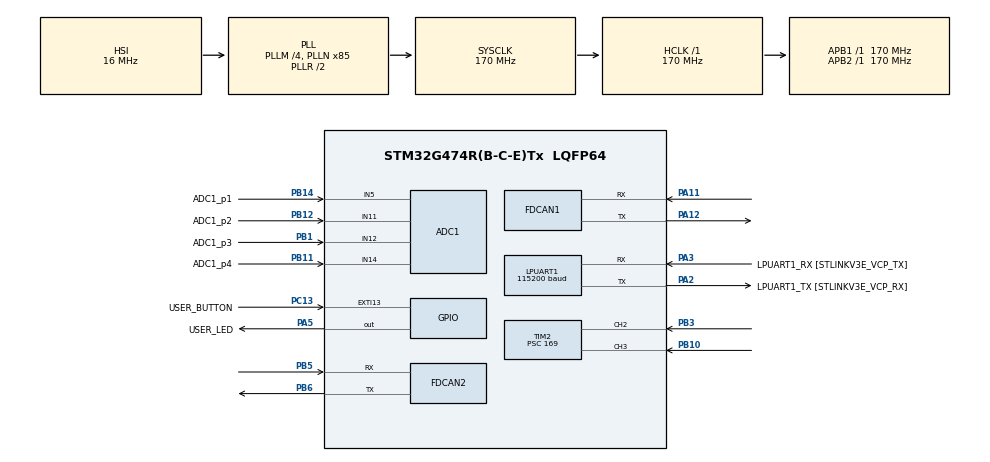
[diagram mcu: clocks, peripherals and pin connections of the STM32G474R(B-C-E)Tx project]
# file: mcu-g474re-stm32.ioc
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ADC1.Channel-0\#ChannelRegularConversion=ADC_CHANNEL_5
ADC1.Channel-1\#ChannelRegularConversion=ADC_CHANNEL_11
ADC1.Channel-2\#ChannelRegularConversion=ADC_CHANNEL_12
ADC1.Channel-3\#ChannelRegularConversion=ADC_CHANNEL_14
ADC1.ClockPrescaler=ADC_CLOCK_SYNC_PCLK_DIV4
ADC1.ContinuousConvMode=ENABLE
ADC1.DMAContinuousRequests=ENABLE
ADC1.EOCSelection=ADC_EOC_SEQ_CONV
ADC1.NbrOfConversion=4
ADC1.NbrOfConversionFlag=1
ADC1.OffsetNumber-0\#ChannelRegularConversion=ADC_OFFSET_NONE
ADC1.OffsetNumber-1\#ChannelRegularConversion=ADC_OFFSET_NONE
ADC1.OffsetNumber-2\#ChannelRegularConversion=ADC_OFFSET_NONE
ADC1.OffsetNumber-3\#ChannelRegularConversion=ADC_OFFSET_NONE
ADC1.Rank-0\#ChannelRegularConversion=1
ADC1.Rank-1\#ChannelRegularConversion=2
ADC1.Rank-2\#ChannelRegularConversion=3
ADC1.Rank-3\#ChannelRegularConversion=4
ADC1.SamplingTime-0\#ChannelRegularConversion=ADC_SAMPLETIME_640CYCLES_5
ADC1.SamplingTime-1\#ChannelRegularConversion=ADC_SAMPLETIME_640CYCLES_5
ADC1.SamplingTime-2\#ChannelRegularConversion=ADC_SAMPLETIME_640CYCLES_5
ADC1.SamplingTime-3\#ChannelRegularConversion=ADC_SAMPLETIME_640CYCLES_5
ADC1.master=1
Dma.ADC1.1.Direction=DMA_PERIPH_TO_MEMORY
Dma.ADC1.1.EventEnable=DISABLE
Dma.ADC1.1.Instance=DMA1_Channel2
Dma.ADC1.1.MemDataAlignment=DMA_MDATAALIGN_HALFWORD
Dma.ADC1.1.MemInc=DMA_MINC_ENABLE
Dma.ADC1.1.Mode=DMA_CIRCULAR
Dma.ADC1.1.PeriphDataAlignment=DMA_PDATAALIGN_HALFWORD
Dma.ADC1.1.PeriphInc=DMA_PINC_DISABLE
Dma.ADC1.1.Polarity=HAL_DMAMUX_REQ_GEN_RISING
Dma.ADC1.1.Priority=DMA_PRIORITY_MEDIUM
Dma.ADC1.1.RequestNumber=1
Dma.ADC1.1.SignalID=NONE
Dma.ADC1.1.SyncEnable=DISABLE
Dma.ADC1.1.SyncPolarity=HAL_DMAMUX_SYNC_NO_EVENT
Dma.ADC1.1.SyncRequestNumber=1
Dma.ADC1.1.SyncSignalID=NONE
Dma.LPUART1_TX.0.Direction=DMA_MEMORY_TO_PERIPH
Dma.LPUART1_TX.0.EventEnable=DISABLE
Dma.LPUART1_TX.0.Instance=DMA1_Channel1
Dma.LPUART1_TX.0.MemDataAlignment=DMA_MDATAALIGN_BYTE
Dma.LPUART1_TX.0.MemInc=DMA_MINC_ENABLE
Dma.LPUART1_TX.0.Mode=DMA_NORMAL
Dma.LPUART1_TX.0.PeriphDataAlignment=DMA_PDATAALIGN_BYTE
Dma.LPUART1_TX.0.PeriphInc=DMA_PINC_DISABLE
Dma.LPUART1_TX.0.Polarity=HAL_DMAMUX_REQ_GEN_RISING
Dma.LPUART1_TX.0.Priority=DMA_PRIORITY_LOW
Dma.LPUART1_TX.0.RequestNumber=1
Dma.LPUART1_TX.0.SignalID=NONE
Dma.LPUART1_TX.0.SyncEnable=DISABLE
Dma.LPUART1_TX.0.SyncPolarity=HAL_DMAMUX_SYNC_NO_EVENT
Dma.LPUART1_TX.0.SyncRequestNumber=1
Dma.LPUART1_TX.0.SyncSignalID=NONE
Dma.Request0=LPUART1_TX
Dma.Request1=ADC1
Dma.Request2=TIM2_CH2
Dma.Request3=TIM2_CH3
Dma.TIM2_CH2.2.Direction=DMA_PERIPH_TO_MEMORY
Dma.TIM2_CH2.2.EventEnable=DISABLE
Dma.TIM2_CH2.2.Instance=DMA1_Channel3
Dma.TIM2_CH2.2.MemDataAlignment=DMA_MDATAALIGN_WORD
Dma.TIM2_CH2.2.MemInc=DMA_MINC_ENABLE
Dma.TIM2_CH2.2.Mode=DMA_CIRCULAR
Dma.TIM2_CH2.2.PeriphDataAlignment=DMA_PDATAALIGN_WORD
Dma.TIM2_CH2.2.PeriphInc=DMA_PINC_DISABLE
Dma.TIM2_CH2.2.Polarity=HAL_DMAMUX_REQ_GEN_RISING
Dma.TIM2_CH2.2.Priority=DMA_PRIORITY_MEDIUM
Dma.TIM2_CH2.2.RequestNumber=1
Dma.TIM2_CH2.2.SignalID=NONE
Dma.TIM2_CH2.2.SyncEnable=DISABLE
Dma.TIM2_CH2.2.SyncPolarity=HAL_DMAMUX_SYNC_NO_EVENT
Dma.TIM2_CH2.2.SyncRequestNumber=1
Dma.TIM2_CH2.2.SyncSignalID=NONE
Dma.TIM2_CH3.3.Direction=DMA_PERIPH_TO_MEMORY
Dma.TIM2_CH3.3.EventEnable=DISABLE
Dma.TIM2_CH3.3.Instance=DMA1_Channel4
Dma.TIM2_CH3.3.MemDataAlignment=DMA_MDATAALIGN_WORD
Dma.TIM2_CH3.3.MemInc=DMA_MINC_ENABLE
Dma.TIM2_CH3.3.Mode=DMA_CIRCULAR
Dma.TIM2_CH3.3.PeriphDataAlignment=DMA_PDATAALIGN_WORD
Dma.TIM2_CH3.3.PeriphInc=DMA_PINC_DISABLE
Dma.TIM2_CH3.3.Polarity=HAL_DMAMUX_REQ_GEN_RISING
Dma.TIM2_CH3.3.Priority=DMA_PRIORITY_MEDIUM
Dma.TIM2_CH3.3.RequestNumber=1
Dma.TIM2_CH3.3.SignalID=NONE
Dma.TIM2_CH3.3.SyncEnable=DISABLE
Dma.TIM2_CH3.3.SyncPolarity=HAL_DMAMUX_SYNC_NO_EVENT
Dma.TIM2_CH3.3.SyncRequestNumber=1
Dma.TIM2_CH3.3.SyncSignalID=NONE
FDCAN1.CalculateBaudRateNominal=500000
FDCAN1.CalculateTimeBitNominal=2000
FDCAN1.CalculateTimeQuantumNominal=100.0
FDCAN1.Mode=FDCAN_MODE_NORMAL
FDCAN1.NominalPrescaler=17
FDCAN1.NominalTimeSeg1=15
FDCAN1.NominalTimeSeg2=4
FDCAN2.CalculateBaudRateNominal=500000
FDCAN2.CalculateTimeBitNominal=2000
FDCAN2.CalculateTimeQuantumNominal=100.0
FDCAN2.NominalPrescaler=17
FDCAN2.NominalTimeSeg1=15
FDCAN2.NominalTimeSeg2=4
IWDG.Prescaler=IWDG_PRESCALER_8
LPUART1.BaudRate=115200
Mcu.Family=STM32G4
Mcu.Name=STM32G474R(B-C-E)Tx
Mcu.Package=LQFP64
NVIC.ADC1_2_IRQn=true\:0\:0\:false\:false\:true\:true\:true\:true
NVIC.DMA1_Channel1_IRQn=true\:0\:0\:false\:false\:true\:false\:true\:true
NVIC.DMA1_Channel2_IRQn=true\:0\:0\:false\:false\:true\:false\:true\:true
NVIC.DMA1_Channel3_IRQn=true\:0\:0\:false\:false\:true\:false\:true\:true
NVIC.DMA1_Channel4_IRQn=true\:0\:0\:false\:false\:true\:false\:true\:true
NVIC.EXTI15_10_IRQn=true\:0\:0\:false\:false\:true\:true\:true\:true
NVIC.FDCAN1_IT0_IRQn=true\:0\:0\:false\:false\:true\:true\:true\:true
NVIC.FDCAN2_IT0_IRQn=true\:0\:0\:false\:false\:true\:true\:true\:true
NVIC.LPUART1_IRQn=true\:0\:0\:false\:false\:true\:true\:true\:true
NVIC.PriorityGroup=NVIC_PRIORITYGROUP_4
PA11.Mode=FDCAN_Activate
PA11.Signal=FDCAN1_RX
PA12.Mode=FDCAN_Activate
PA12.Signal=FDCAN1_TX
PA13.GPIO_Label=T_SWDIO
PA13.Mode=Serial_Wire
PA13.Signal=SYS_JTMS-SWDIO
PA14.Mode=Serial_Wire
PA14.Signal=SYS_JTCK-SWCLK
PA2.GPIO_Label=LPUART1_TX [STLINKV3E_VCP_RX]
PA2.Mode=Asynchronous
PA2.Signal=LPUART1_TX
PA3.GPIO_Label=LPUART1_RX [STLINKV3E_VCP_TX]
PA3.Mode=Asynchronous
PA3.Signal=LPUART1_RX
PA5.GPIO_Label=USER_LED
PA5.Signal=GPIO_Output
PB1.GPIO_Label=ADC1_p3
PB1.Mode=IN12-Single-Ended
PB1.Signal=ADC1_IN12
PB10.Signal=S_TIM2_CH3
PB11.GPIO_Label=ADC1_p4
PB11.Mode=IN14-Single-Ended
PB11.Signal=ADC1_IN14
PB12.GPIO_Label=ADC1_p2
PB12.Mode=IN11-Single-Ended
PB12.Signal=ADC1_IN11
PB14.GPIO_Label=ADC1_p1
PB14.Mode=IN5-Single-Ended
PB14.Signal=ADC1_IN5
PB3.Signal=S_TIM2_CH2
PB5.Mode=FDCAN_Activate
PB5.Signal=FDCAN2_RX
PB6.Mode=FDCAN_Activate
PB6.Signal=FDCAN2_TX
PC13.GPIO_Label=USER_BUTTON
PC13.Signal=GPXTI13
ProjectManager.HeapSize=0x200
ProjectManager.StackSize=0x400
ProjectManager.TargetToolchain=STM32CubeIDE
RCC.ADC12Freq_Value=170000000
RCC.ADC345Freq_Value=170000000
RCC.AHBFreq_Value=170000000
RCC.APB1Freq_Value=170000000
RCC.APB1TimFreq_Value=170000000
RCC.APB2Freq_Value=170000000
RCC.APB2TimFreq_Value=170000000
RCC.CortexFreq_Value=170000000
RCC.EXTERNAL_CLOCK_VALUE=12288000
RCC.HCLKFreq_Value=170000000
RCC.HSE_VALUE=24000000
RCC.HSI48_VALUE=48000000
RCC.HSI_VALUE=16000000
RCC.LSE_VALUE=32768
RCC.PLLM=RCC_PLLM_DIV4
RCC.PLLN=85
RCC.RTCClockSelection=RCC_RTCCLKSOURCE_LSE
RCC.SYSCLKFreq_VALUE=170000000
RCC.SYSCLKSource=RCC_SYSCLKSOURCE_PLLCLK
RCC.USBFreq_Value=170000000
RCC.VCOOutputFreq_Value=340000000
SH.S_TIM2_CH2.0=TIM2_CH2,Input_Capture2_from_TI2
SH.S_TIM2_CH3.0=TIM2_CH3,Input_Capture3_from_TI3
TIM2.AutoReloadPreload=TIM_AUTORELOAD_PRELOAD_ENABLE
TIM2.Channel-Input_Capture2_from_TI2=TIM_CHANNEL_2
TIM2.Channel-Input_Capture3_from_TI3=TIM_CHANNEL_3
TIM2.ICFilter_CH2=8
TIM2.ICFilter_CH3=8
TIM2.Prescaler=169
VP_IWDG_VS_IWDG.Mode=IWDG_Activate
VP_SYS_VS_DBSignals.Mode=DisableDeadBatterySignals
VP_TIM2_VS_ClockSourceINT.Mode=Internal
board=NUCLEO-G474RE

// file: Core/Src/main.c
/* USER CODE BEGIN Header */
/**
  ******************************************************************************
  * @file           : main.c
  * @brief          : Main program body
  ******************************************************************************
  * @attention
  *
  * Copyright (c) 2026 STMicroelectronics.
  * All rights reserved.
  *
  * This software is licensed under terms that can be found in the LICENSE file
  * in the root directory of this software component.
  * If no LICENSE file comes with this software, it is provided AS-IS.
  *
  ******************************************************************************
  */
/* USER CODE END Header */
#include "main.h"

/* USER CODE BEGIN Includes */
#include <stdio.h>
#include <stdarg.h>
#include <string.h>
/* USER CODE END Includes */

ADC_HandleTypeDef hadc1;
DMA_HandleTypeDef hdma_adc1;

FDCAN_HandleTypeDef hfdcan1;
FDCAN_HandleTypeDef hfdcan2;

IWDG_HandleTypeDef hiwdg;

UART_HandleTypeDef hlpuart1;
DMA_HandleTypeDef hdma_lpuart1_tx;

TIM_HandleTypeDef htim2;
DMA_HandleTypeDef hdma_tim2_ch2;
DMA_HandleTypeDef hdma_tim2_ch3;

/* USER CODE BEGIN PV */

/* -----------------------------------------------------------------------
 *  ADC – 4 canali DMA continuo (circolare)
 *  Buffer: [0]=PB14/CH5  [1]=PB12/CH11  [2]=PB1/CH12  [3]=PB11/CH14
 * --------------------------------------------------------------------- */
#define ADC_NUM_CH   4u
volatile uint16_t g_adc[ADC_NUM_CH];          /* raw 12-bit ADC values  */

/* -----------------------------------------------------------------------
 *  LPUART1 – debug su ST-Link VCP via DMA
 *  Pattern identico a Serial.c (buffer DMA + flag busy + TxCplt callback)
 * --------------------------------------------------------------------- */
#define LPUART_BUF_SIZE   128u
static char      g_lpuart_buf[LPUART_BUF_SIZE];
volatile uint8_t g_lpuart_busy = 0;

/* -----------------------------------------------------------------------
 *  FDCAN  (CAN1 = PA11/PA12 @ 500 kbps,  CAN2 = PB5/PB6 @ 500 kbps)
 *
 *  NOTA: la G474RE NON bypassa automaticamente un bus CAN assente.
 *  HAL_FDCAN_Init / Start riescono sempre; la trasmissione fallirà
 *  silenziosamente se non c'è nessun altro nodo ad ACK-are.
 *  Con AutoRetransmission=DISABLE (già impostato dal CubeMX) il TX
 *  viene tentato una sola volta e non si innesca il bus-off loop.
 *  Il bus-off viene comunque rilevato e recuperato nel main loop.
 *  Per test senza hardware CAN → cambiare Mode in
 *  FDCAN_MODE_INTERNAL_LOOPBACK nel .ioc e rigenerare.
 * --------------------------------------------------------------------- */
volatile uint8_t       g_btn_tx_req  = 0;     /* richiesta TX da pulsante */
FDCAN_RxHeaderTypeDef  g_can_rx_hdr;
uint8_t                g_can_rx_data[8];
volatile uint32_t      g_can1_rx_cnt = 0;
volatile uint32_t      g_can2_rx_cnt = 0;

/* -----------------------------------------------------------------------
 *  Speed sensors – TIM2 Input Capture DMA circolare
 *  PB3  → TIM2_CH2 → ruota 1
 *  PB10 → TIM2_CH3 → ruota 2
 *
 *  Clock TIM2: 170 MHz / (Prescaler+1) = 170 MHz / 170 = 1 MHz
 *  → 1 tick = 1 µs  → diff [µs] tra due denti consecutivi
 *
 *  rpm  = 60 × 10⁶ / (diff_µs × NUM_DENTI)
 *  km/h = rpm_medio × CIRC_RUOTA_M × 60 / 1000
 * --------------------------------------------------------------------- */
#define NUM_DENTI      22.0f
#define CIRC_RUOTA_M    1.8f              /* circonferenza ruota [m]       */
#define IC_BUF_SIZE    16u

uint32_t          g_ic_buf_ch2[IC_BUF_SIZE];  /* DMA scrive TIM2 CH2 qui */
uint32_t          g_ic_buf_ch3[IC_BUF_SIZE];  /* DMA scrive TIM2 CH3 qui */
uint16_t          g_last_idx_ch2 = 0;
uint16_t          g_last_idx_ch3 = 0;
uint16_t          g_timeout_ch2  = 0;         /* cnt loop senza nuovi dati */
uint16_t          g_timeout_ch3  = 0;

volatile float    g_rpm1      = 0.0f;
volatile float    g_rpm2      = 0.0f;
volatile float    g_speed_kmh = 0.0f;

/* logging tick: globale per visibilità in debug */
uint32_t          g_log_tick  = 0;

/* USER CODE END PV */

void SystemClock_Config(void);
static void MX_GPIO_Init(void);
static void MX_DMA_Init(void);
static void MX_ADC1_Init(void);
static void MX_IWDG_Init(void);
static void MX_LPUART1_UART_Init(void);
static void MX_FDCAN1_Init(void);
static void MX_FDCAN2_Init(void);
static void MX_TIM2_Init(void);

/* USER CODE BEGIN 0 */

/* -----------------------------------------------------------------------
 *  Serial_Log – invia stringa formattata su LPUART1 via DMA
 *  Stesso pattern di Serial.c: buffer statico + flag busy + callback
 *  Il chiamante attende al più 20 ms che il TX precedente finisca;
 *  se scade il timeout il messaggio viene scartato (no blocco).
 * --------------------------------------------------------------------- */
void Serial_Log(const char *fmt, ...)
{
    uint32_t t0 = HAL_GetTick();
    while (g_lpuart_busy && (HAL_GetTick() - t0 < 20u)) {}
    if (g_lpuart_busy) return;

    va_list ap;
    va_start(ap, fmt);
    int len = vsnprintf(g_lpuart_buf, sizeof(g_lpuart_buf), fmt, ap);
    va_end(ap);

    if (len <= 0 || len >= (int)sizeof(g_lpuart_buf)) return;

    g_lpuart_busy = 1u;
    if (HAL_UART_Transmit_DMA(&hlpuart1, (uint8_t *)g_lpuart_buf, (uint16_t)len) != HAL_OK)
        g_lpuart_busy = 0u;
}

/* -----------------------------------------------------------------------
 *  HAL Callbacks
 * --------------------------------------------------------------------- */

/* TX LPUART completato → libera il flag (chiamato da DMA1_Ch1 IRQ) */
void HAL_UART_TxCpltCallback(UART_HandleTypeDef *huart)
{
    if (huart->Instance == LPUART1)
        g_lpuart_busy = 0u;
}

/* Pulsante B1 (PC13, rising edge EXTI) → schedula TX su CAN1 */
void HAL_GPIO_EXTI_Callback(uint16_t GPIO_Pin)
{
    if (GPIO_Pin == USER_BUTTON_Pin)
        g_btn_tx_req = 1u;
}

/*
 * FDCAN RX FIFO0 callback – svuota il FIFO in loop (gestisce burst)
 *  • CAN1: toggle LED verde (PA5) ad ogni frame ricevuto
 *  • CAN2: incrementa solo il contatore
 */
void HAL_FDCAN_RxFifo0Callback(FDCAN_HandleTypeDef *hfdcan, uint32_t RxFifo0ITs)
{
    if (!(RxFifo0ITs & FDCAN_IT_RX_FIFO0_NEW_MESSAGE)) return;

    while (HAL_FDCAN_GetRxFifoFillLevel(hfdcan, FDCAN_RX_FIFO0) > 0u)
    {
        HAL_FDCAN_GetRxMessage(hfdcan, FDCAN_RX_FIFO0, &g_can_rx_hdr, g_can_rx_data);

        if (hfdcan->Instance == FDCAN1)
        {
            g_can1_rx_cnt++;
            HAL_GPIO_TogglePin(USER_LED_GPIO_Port, USER_LED_Pin);
        }
        else if (hfdcan->Instance == FDCAN2)
        {
            g_can2_rx_cnt++;
        }
    }
}

/* USER CODE END 0 */

int main(void)
{

  /* MCU Configuration--------------------------------------------------------*/

  /* Reset of all peripherals, Initializes the Flash interface and the Systick. */
  HAL_Init();

  /* Configure the system clock */
  SystemClock_Config();

  /* Initialize all configured peripherals */
  MX_GPIO_Init();
  MX_DMA_Init();
  MX_ADC1_Init();
  MX_IWDG_Init();
  MX_LPUART1_UART_Init();
  MX_FDCAN1_Init();
  MX_FDCAN2_Init();
  MX_TIM2_Init();
  /* USER CODE BEGIN 2 */

  /* -----------------------------------------------------------------------
   *  ADC – calibrazione offset + avvio DMA continuo circolare
   * --------------------------------------------------------------------- */
  HAL_ADCEx_Calibration_Start(&hadc1, ADC_SINGLE_ENDED);
  HAL_ADC_Start_DMA(&hadc1, (uint32_t *)g_adc, ADC_NUM_CH);

  /* -----------------------------------------------------------------------
   *  FDCAN1 – filtro "accetta tutto" standard, start, notifica RX
   * --------------------------------------------------------------------- */
  {
    FDCAN_FilterTypeDef f = {0};
    f.IdType       = FDCAN_STANDARD_ID;
    f.FilterIndex  = 0;
    f.FilterType   = FDCAN_FILTER_MASK;
    f.FilterConfig = FDCAN_FILTER_TO_RXFIFO0;
    f.FilterID1    = 0x000u;
    f.FilterID2    = 0x000u;   /* maschera 0 → accetta qualunque ID standard */

    HAL_FDCAN_ConfigFilter(&hfdcan1, &f);
    HAL_FDCAN_ConfigGlobalFilter(&hfdcan1,
        FDCAN_ACCEPT_IN_RX_FIFO0, FDCAN_ACCEPT_IN_RX_FIFO0,
        FDCAN_REJECT, FDCAN_REJECT);
    if (HAL_FDCAN_Start(&hfdcan1) != HAL_OK) { Error_Handler(); }
    HAL_FDCAN_ActivateNotification(&hfdcan1, FDCAN_IT_RX_FIFO0_NEW_MESSAGE, 0);
  }

  /* -----------------------------------------------------------------------
   *  FDCAN2 – stesso schema
   * --------------------------------------------------------------------- */
  {
    FDCAN_FilterTypeDef f = {0};
    f.IdType       = FDCAN_STANDARD_ID;
    f.FilterIndex  = 0;
    f.FilterType   = FDCAN_FILTER_MASK;
    f.FilterConfig = FDCAN_FILTER_TO_RXFIFO0;
    f.FilterID1    = 0x000u;
    f.FilterID2    = 0x000u;

    HAL_FDCAN_ConfigFilter(&hfdcan2, &f);
    HAL_FDCAN_ConfigGlobalFilter(&hfdcan2,
        FDCAN_ACCEPT_IN_RX_FIFO0, FDCAN_ACCEPT_IN_RX_FIFO0,
        FDCAN_REJECT, FDCAN_REJECT);
    if (HAL_FDCAN_Start(&hfdcan2) != HAL_OK) { Error_Handler(); }
    HAL_FDCAN_ActivateNotification(&hfdcan2, FDCAN_IT_RX_FIFO0_NEW_MESSAGE, 0);
  }

  /* -----------------------------------------------------------------------
   *  TIM2 IC DMA – avvio circolare su CH2 (PB3) e CH3 (PB10)
   *  DMA già configurato in DMA_CIRCULAR nel MSP generato da CubeMX.
   * --------------------------------------------------------------------- */
  HAL_TIM_IC_Start_DMA(&htim2, TIM_CHANNEL_2, g_ic_buf_ch2, IC_BUF_SIZE);
  HAL_TIM_IC_Start_DMA(&htim2, TIM_CHANNEL_3, g_ic_buf_ch3, IC_BUF_SIZE);

  Serial_Log("=== Nucleo G474RE test start ===\r\n");

  /* USER CODE END 2 */

  /* Infinite loop */
  while (1)
  {

    /* USER CODE BEGIN 3 */

    uint32_t now = HAL_GetTick();

    /* ---------------------------------------------------------------
     *  Pulsante B1 → TX su CAN1 (ID 0x123, 8 byte)
     * ------------------------------------------------------------- */
    if (g_btn_tx_req)
    {
      g_btn_tx_req = 0u;

      FDCAN_TxHeaderTypeDef txh = {0};
      txh.Identifier          = 0x123u;
      txh.IdType              = FDCAN_STANDARD_ID;
      txh.TxFrameType         = FDCAN_DATA_FRAME;
      txh.DataLength          = FDCAN_DLC_BYTES_8;
      txh.ErrorStateIndicator = FDCAN_ESI_ACTIVE;
      txh.BitRateSwitch       = FDCAN_BRS_OFF;
      txh.FDFormat            = FDCAN_CLASSIC_CAN;
      txh.TxEventFifoControl  = FDCAN_NO_TX_EVENTS;
      txh.MessageMarker       = 0;

      uint8_t txd[8] = {0xDE, 0xAD, 0xBE, 0xEF, 0x01, 0x02, 0x03, 0x04};
      if (HAL_FDCAN_AddMessageToTxFifoQ(&hfdcan1, &txh, txd) == HAL_OK)
        Serial_Log("CAN1 TX ok\r\n");
      else
        Serial_Log("CAN1 TX ERR (bus assente?)\r\n");
    }

    /* ---------------------------------------------------------------
     *  Bus-off recovery – se il CAN è isolato, PSR.BO viene settato
     *  dopo che il TEC supera 256 (es. dopo 32 TX senza ACK).
     *  Stop + Start resetta i contatori di errore.
     * ------------------------------------------------------------- */
    if (hfdcan1.Instance->PSR & FDCAN_PSR_BO)
    {
      HAL_FDCAN_Stop(&hfdcan1);
      HAL_FDCAN_Start(&hfdcan1);
      Serial_Log("FDCAN1 bus-off: recovery\r\n");
    }
    if (hfdcan2.Instance->PSR & FDCAN_PSR_BO)
    {
      HAL_FDCAN_Stop(&hfdcan2);
      HAL_FDCAN_Start(&hfdcan2);
      Serial_Log("FDCAN2 bus-off: recovery\r\n");
    }

    /* ---------------------------------------------------------------
     *  RUOTA 1 – TIM2 CH2 (PB3)
     *
     *  NDTR del DMA conta quante scritture mancano a riempire il buffer.
     *  curr_idx = posizione corrente di scrittura nel buffer circolare.
     *  Il % IC_BUF_SIZE gestisce il caso NDTR==0 (wrap-around DMA).
     * ------------------------------------------------------------- */
    {
      uint16_t ndtr     = (uint16_t)__HAL_DMA_GET_COUNTER(htim2.hdma[TIM_DMA_ID_CC2]);
      uint16_t curr_idx = (uint16_t)((IC_BUF_SIZE - ndtr) % IC_BUF_SIZE);

      if (curr_idx != g_last_idx_ch2)
      {
        /* ultimi due timestamp catturati in ordine circolare */
        uint16_t i_new  = (uint16_t)((curr_idx - 1u + IC_BUF_SIZE) % IC_BUF_SIZE);
        uint16_t i_prev = (uint16_t)((curr_idx - 2u + IC_BUF_SIZE) % IC_BUF_SIZE);

        /* sottrazione uint32 gestisce overflow del counter a 32 bit */
        uint32_t diff = g_ic_buf_ch2[i_new] - g_ic_buf_ch2[i_prev];
        if (diff > 0u)
          g_rpm1 = 60000000.0f / ((float)diff * NUM_DENTI);

        g_last_idx_ch2 = curr_idx;
        g_timeout_ch2  = 0u;
      }
      else
      {
        if (g_timeout_ch2 < 0xFFFFu) g_timeout_ch2++;
        if (g_timeout_ch2 > 10u) g_rpm1 = 0.0f;   /* ~100 ms → ruota ferma */
      }
    }

    /* ---------------------------------------------------------------
     *  RUOTA 2 – TIM2 CH3 (PB10)
     * ------------------------------------------------------------- */
    {
      uint16_t ndtr     = (uint16_t)__HAL_DMA_GET_COUNTER(htim2.hdma[TIM_DMA_ID_CC3]);
      uint16_t curr_idx = (uint16_t)((IC_BUF_SIZE - ndtr) % IC_BUF_SIZE);

      if (curr_idx != g_last_idx_ch3)
      {
        uint16_t i_new  = (uint16_t)((curr_idx - 1u + IC_BUF_SIZE) % IC_BUF_SIZE);
        uint16_t i_prev = (uint16_t)((curr_idx - 2u + IC_BUF_SIZE) % IC_BUF_SIZE);

        uint32_t diff = g_ic_buf_ch3[i_new] - g_ic_buf_ch3[i_prev];
        if (diff > 0u)
          g_rpm2 = 60000000.0f / ((float)diff * NUM_DENTI);

        g_last_idx_ch3 = curr_idx;
        g_timeout_ch3  = 0u;
      }
      else
      {
        if (g_timeout_ch3 < 0xFFFFu) g_timeout_ch3++;
        if (g_timeout_ch3 > 10u) g_rpm2 = 0.0f;
      }
    }

    /* ---------------------------------------------------------------
     *  Velocità veicolo
     *  km/h = rpm_medio × circ[m] × 60 / 1000
     * ------------------------------------------------------------- */
    g_speed_kmh = ((g_rpm1 + g_rpm2) * 0.5f * CIRC_RUOTA_M * 60.0f) / 1000.0f;

    /* ---------------------------------------------------------------
     *  Log UART ogni 200 ms
     *  ADC raw 12-bit, RPM ruote, velocità, contatori CAN RX
     * ------------------------------------------------------------- */
    if (now - g_log_tick >= 200u)
    {
      g_log_tick = now;
      Serial_Log("ADC[%4d,%4d,%4d,%4d] RPM1=%6.1f RPM2=%6.1f V=%5.1f km/h RX1=%u RX2=%u\r\n",
                 (int)g_adc[0], (int)g_adc[1], (int)g_adc[2], (int)g_adc[3],
                 (double)g_rpm1, (double)g_rpm2, (double)g_speed_kmh,
                 (unsigned int)g_can1_rx_cnt, (unsigned int)g_can2_rx_cnt);
    }

    /* kick watchdog (timeout IWDG ≈ 1 s) */
    HAL_IWDG_Refresh(&hiwdg);

    HAL_Delay(10);
  }
  /* USER CODE END 3 */
}

void SystemClock_Config(void)
{
  RCC_OscInitTypeDef RCC_OscInitStruct = {0};
  RCC_ClkInitTypeDef RCC_ClkInitStruct = {0};

  /** Configure the main internal regulator output voltage
  */
  HAL_PWREx_ControlVoltageScaling(PWR_REGULATOR_VOLTAGE_SCALE1_BOOST);

  /** Initializes the RCC Oscillators according to the specified parameters
  * in the RCC_OscInitTypeDef structure.
  */
  RCC_OscInitStruct.OscillatorType = RCC_OSCILLATORTYPE_HSI|RCC_OSCILLATORTYPE_LSI;
  RCC_OscInitStruct.HSIState = RCC_HSI_ON;
  RCC_OscInitStruct.HSICalibrationValue = RCC_HSICALIBRATION_DEFAULT;
  RCC_OscInitStruct.LSIState = RCC_LSI_ON;
  RCC_OscInitStruct.PLL.PLLState = RCC_PLL_ON;
  RCC_OscInitStruct.PLL.PLLSource = RCC_PLLSOURCE_HSI;
  RCC_OscInitStruct.PLL.PLLM = RCC_PLLM_DIV4;
  RCC_OscInitStruct.PLL.PLLN = 85;
  RCC_OscInitStruct.PLL.PLLP = RCC_PLLP_DIV2;
  RCC_OscInitStruct.PLL.PLLQ = RCC_PLLQ_DIV2;
  RCC_OscInitStruct.PLL.PLLR = RCC_PLLR_DIV2;
  if (HAL_RCC_OscConfig(&RCC_OscInitStruct) != HAL_OK)
  {
    Error_Handler();
  }

  /** Initializes the CPU, AHB and APB buses clocks
  */
  RCC_ClkInitStruct.ClockType = RCC_CLOCKTYPE_HCLK|RCC_CLOCKTYPE_SYSCLK
                              |RCC_CLOCKTYPE_PCLK1|RCC_CLOCKTYPE_PCLK2;
  RCC_ClkInitStruct.SYSCLKSource = RCC_SYSCLKSOURCE_PLLCLK;
  RCC_ClkInitStruct.AHBCLKDivider = RCC_SYSCLK_DIV1;
  RCC_ClkInitStruct.APB1CLKDivider = RCC_HCLK_DIV1;
  RCC_ClkInitStruct.APB2CLKDivider = RCC_HCLK_DIV1;

  if (HAL_RCC_ClockConfig(&RCC_ClkInitStruct, FLASH_LATENCY_4) != HAL_OK)
  {
    Error_Handler();
  }
}

static void MX_ADC1_Init(void)
{

  ADC_MultiModeTypeDef multimode = {0};
  ADC_ChannelConfTypeDef sConfig = {0};

  /** Common config
  */
  hadc1.Instance = ADC1;
  hadc1.Init.ClockPrescaler = ADC_CLOCK_SYNC_PCLK_DIV4;
  hadc1.Init.Resolution = ADC_RESOLUTION_12B;
  hadc1.Init.DataAlign = ADC_DATAALIGN_RIGHT;
  hadc1.Init.GainCompensation = 0;
  hadc1.Init.ScanConvMode = ADC_SCAN_ENABLE;
  hadc1.Init.EOCSelection = ADC_EOC_SEQ_CONV;
  hadc1.Init.LowPowerAutoWait = DISABLE;
  hadc1.Init.ContinuousConvMode = ENABLE;
  hadc1.Init.NbrOfConversion = 4;
  hadc1.Init.DiscontinuousConvMode = DISABLE;
  hadc1.Init.ExternalTrigConv = ADC_SOFTWARE_START;
  hadc1.Init.ExternalTrigConvEdge = ADC_EXTERNALTRIGCONVEDGE_NONE;
  hadc1.Init.DMAContinuousRequests = ENABLE;
  hadc1.Init.Overrun = ADC_OVR_DATA_PRESERVED;
  hadc1.Init.OversamplingMode = DISABLE;
  if (HAL_ADC_Init(&hadc1) != HAL_OK)
  {
    Error_Handler();
  }

  /** Configure the ADC multi-mode
  */
  multimode.Mode = ADC_MODE_INDEPENDENT;
  if (HAL_ADCEx_MultiModeConfigChannel(&hadc1, &multimode) != HAL_OK)
  {
    Error_Handler();
  }

  /** Configure Regular Channel
  */
  sConfig.Channel = ADC_CHANNEL_5;
  sConfig.Rank = ADC_REGULAR_RANK_1;
  sConfig.SamplingTime = ADC_SAMPLETIME_640CYCLES_5;
  sConfig.SingleDiff = ADC_SINGLE_ENDED;
  sConfig.OffsetNumber = ADC_OFFSET_NONE;
  sConfig.Offset = 0;
  if (HAL_ADC_ConfigChannel(&hadc1, &sConfig) != HAL_OK)
  {
    Error_Handler();
  }

  /** Configure Regular Channel
  */
  sConfig.Channel = ADC_CHANNEL_11;
  sConfig.Rank = ADC_REGULAR_RANK_2;
  if (HAL_ADC_ConfigChannel(&hadc1, &sConfig) != HAL_OK)
  {
    Error_Handler();
  }

  /** Configure Regular Channel
  */
  sConfig.Channel = ADC_CHANNEL_12;
  sConfig.Rank = ADC_REGULAR_RANK_3;
  if (HAL_ADC_ConfigChannel(&hadc1, &sConfig) != HAL_OK)
  {
    Error_Handler();
  }

  /** Configure Regular Channel
  */
  sConfig.Channel = ADC_CHANNEL_14;
  sConfig.Rank = ADC_REGULAR_RANK_4;
  if (HAL_ADC_ConfigChannel(&hadc1, &sConfig) != HAL_OK)
  {
    Error_Handler();
  }

}

static void MX_FDCAN1_Init(void)
{

  hfdcan1.Instance = FDCAN1;
  hfdcan1.Init.ClockDivider = FDCAN_CLOCK_DIV1;
  hfdcan1.Init.FrameFormat = FDCAN_FRAME_CLASSIC;
  hfdcan1.Init.Mode = FDCAN_MODE_NORMAL;
  hfdcan1.Init.AutoRetransmission = DISABLE;
  hfdcan1.Init.TransmitPause = DISABLE;
  hfdcan1.Init.ProtocolException = DISABLE;
  hfdcan1.Init.NominalPrescaler = 17;
  hfdcan1.Init.NominalSyncJumpWidth = 1;
  hfdcan1.Init.NominalTimeSeg1 = 15;
  hfdcan1.Init.NominalTimeSeg2 = 4;
  hfdcan1.Init.DataPrescaler = 1;
  hfdcan1.Init.DataSyncJumpWidth = 1;
  hfdcan1.Init.DataTimeSeg1 = 1;
  hfdcan1.Init.DataTimeSeg2 = 1;
  hfdcan1.Init.StdFiltersNbr = 0;
  hfdcan1.Init.ExtFiltersNbr = 0;
  hfdcan1.Init.TxFifoQueueMode = FDCAN_TX_FIFO_OPERATION;
  if (HAL_FDCAN_Init(&hfdcan1) != HAL_OK)
  {
    Error_Handler();
  }

}

static void MX_FDCAN2_Init(void)
{

  hfdcan2.Instance = FDCAN2;
  hfdcan2.Init.ClockDivider = FDCAN_CLOCK_DIV1;
  hfdcan2.Init.FrameFormat = FDCAN_FRAME_CLASSIC;
  hfdcan2.Init.Mode = FDCAN_MODE_NORMAL;
  hfdcan2.Init.AutoRetransmission = DISABLE;
  hfdcan2.Init.TransmitPause = DISABLE;
  hfdcan2.Init.ProtocolException = DISABLE;
  hfdcan2.Init.NominalPrescaler = 17;
  hfdcan2.Init.NominalSyncJumpWidth = 1;
  hfdcan2.Init.NominalTimeSeg1 = 15;
  hfdcan2.Init.NominalTimeSeg2 = 4;
  hfdcan2.Init.DataPrescaler = 1;
  hfdcan2.Init.DataSyncJumpWidth = 1;
  hfdcan2.Init.DataTimeSeg1 = 1;
  hfdcan2.Init.DataTimeSeg2 = 1;
  hfdcan2.Init.StdFiltersNbr = 0;
  hfdcan2.Init.ExtFiltersNbr = 0;
  hfdcan2.Init.TxFifoQueueMode = FDCAN_TX_FIFO_OPERATION;
  if (HAL_FDCAN_Init(&hfdcan2) != HAL_OK)
  {
    Error_Handler();
  }

}

static void MX_IWDG_Init(void)
{

  hiwdg.Instance = IWDG;
  hiwdg.Init.Prescaler = IWDG_PRESCALER_8;
  hiwdg.Init.Window = 4095;
  hiwdg.Init.Reload = 4095;
  if (HAL_IWDG_Init(&hiwdg) != HAL_OK)
  {
    Error_Handler();
  }

}

static void MX_LPUART1_UART_Init(void)
{

  hlpuart1.Instance = LPUART1;
  hlpuart1.Init.BaudRate = 115200;
  hlpuart1.Init.WordLength = UART_WORDLENGTH_8B;
  hlpuart1.Init.StopBits = UART_STOPBITS_1;
  hlpuart1.Init.Parity = UART_PARITY_NONE;
  hlpuart1.Init.Mode = UART_MODE_TX_RX;
  hlpuart1.Init.HwFlowCtl = UART_HWCONTROL_NONE;
  hlpuart1.Init.OneBitSampling = UART_ONE_BIT_SAMPLE_DISABLE;
  hlpuart1.Init.ClockPrescaler = UART_PRESCALER_DIV1;
  hlpuart1.AdvancedInit.AdvFeatureInit = UART_ADVFEATURE_NO_INIT;
  if (HAL_UART_Init(&hlpuart1) != HAL_OK)
  {
    Error_Handler();
  }
  if (HAL_UARTEx_SetTxFifoThreshold(&hlpuart1, UART_TXFIFO_THRESHOLD_1_8) != HAL_OK)
  {
    Error_Handler();
  }
  if (HAL_UARTEx_SetRxFifoThreshold(&hlpuart1, UART_RXFIFO_THRESHOLD_1_8) != HAL_OK)
  {
    Error_Handler();
  }
  if (HAL_UARTEx_DisableFifoMode(&hlpuart1) != HAL_OK)
  {
    Error_Handler();
  }

}

static void MX_TIM2_Init(void)
{

  TIM_ClockConfigTypeDef sClockSourceConfig = {0};
  TIM_MasterConfigTypeDef sMasterConfig = {0};
  TIM_IC_InitTypeDef sConfigIC = {0};

  htim2.Instance = TIM2;
  htim2.Init.Prescaler = 169;
  htim2.Init.CounterMode = TIM_COUNTERMODE_UP;
  htim2.Init.Period = 4294967295;
  htim2.Init.ClockDivision = TIM_CLOCKDIVISION_DIV1;
  htim2.Init.AutoReloadPreload = TIM_AUTORELOAD_PRELOAD_ENABLE;
  if (HAL_TIM_Base_Init(&htim2) != HAL_OK)
  {
    Error_Handler();
  }
  sClockSourceConfig.ClockSource = TIM_CLOCKSOURCE_INTERNAL;
  if (HAL_TIM_ConfigClockSource(&htim2, &sClockSourceConfig) != HAL_OK)
  {
    Error_Handler();
  }
  if (HAL_TIM_IC_Init(&htim2) != HAL_OK)
  {
    Error_Handler();
  }
  sMasterConfig.MasterOutputTrigger = TIM_TRGO_RESET;
  sMasterConfig.MasterSlaveMode = TIM_MASTERSLAVEMODE_DISABLE;
  if (HAL_TIMEx_MasterConfigSynchronization(&htim2, &sMasterConfig) != HAL_OK)
  {
    Error_Handler();
  }
  sConfigIC.ICPolarity = TIM_INPUTCHANNELPOLARITY_RISING;
  sConfigIC.ICSelection = TIM_ICSELECTION_DIRECTTI;
  sConfigIC.ICPrescaler = TIM_ICPSC_DIV1;
  sConfigIC.ICFilter = 8;
  if (HAL_TIM_IC_ConfigChannel(&htim2, &sConfigIC, TIM_CHANNEL_2) != HAL_OK)
  {
    Error_Handler();
  }
  if (HAL_TIM_IC_ConfigChannel(&htim2, &sConfigIC, TIM_CHANNEL_3) != HAL_OK)
  {
    Error_Handler();
  }

}

static void MX_DMA_Init(void)
{

  /* DMA controller clock enable */
  __HAL_RCC_DMAMUX1_CLK_ENABLE();
  __HAL_RCC_DMA1_CLK_ENABLE();

  /* DMA interrupt init */
  /* DMA1_Channel1_IRQn interrupt configuration */
  HAL_NVIC_SetPriority(DMA1_Channel1_IRQn, 0, 0);
  HAL_NVIC_EnableIRQ(DMA1_Channel1_IRQn);
  /* DMA1_Channel2_IRQn interrupt configuration */
  HAL_NVIC_SetPriority(DMA1_Channel2_IRQn, 0, 0);
  HAL_NVIC_EnableIRQ(DMA1_Channel2_IRQn);
  /* DMA1_Channel3_IRQn interrupt configuration */
  HAL_NVIC_SetPriority(DMA1_Channel3_IRQn, 0, 0);
  HAL_NVIC_EnableIRQ(DMA1_Channel3_IRQn);
  /* DMA1_Channel4_IRQn interrupt configuration */
  HAL_NVIC_SetPriority(DMA1_Channel4_IRQn, 0, 0);
  HAL_NVIC_EnableIRQ(DMA1_Channel4_IRQn);

}

static void MX_GPIO_Init(void)
{
  GPIO_InitTypeDef GPIO_InitStruct = {0};

  /* GPIO Ports Clock Enable */
  __HAL_RCC_GPIOC_CLK_ENABLE();
  __HAL_RCC_GPIOA_CLK_ENABLE();
  __HAL_RCC_GPIOB_CLK_ENABLE();

  /*Configure GPIO pin Output Level */
  HAL_GPIO_WritePin(USER_LED_GPIO_Port, USER_LED_Pin, GPIO_PIN_RESET);

  /*Configure GPIO pin : USER_BUTTON_Pin */
  GPIO_InitStruct.Pin = USER_BUTTON_Pin;
  GPIO_InitStruct.Mode = GPIO_MODE_IT_RISING;
  GPIO_InitStruct.Pull = GPIO_NOPULL;
  HAL_GPIO_Init(USER_BUTTON_GPIO_Port, &GPIO_InitStruct);

  /*Configure GPIO pin : USER_LED_Pin */
  GPIO_InitStruct.Pin = USER_LED_Pin;
  GPIO_InitStruct.Mode = GPIO_MODE_OUTPUT_PP;
  GPIO_InitStruct.Pull = GPIO_NOPULL;
  GPIO_InitStruct.Speed = GPIO_SPEED_FREQ_LOW;
  HAL_GPIO_Init(USER_LED_GPIO_Port, &GPIO_InitStruct);

  /* EXTI interrupt init*/
  HAL_NVIC_SetPriority(EXTI15_10_IRQn, 0, 0);
  HAL_NVIC_EnableIRQ(EXTI15_10_IRQn);

}

void Error_Handler(void)
{
  __disable_irq();
  while (1)
  {
  }
}
